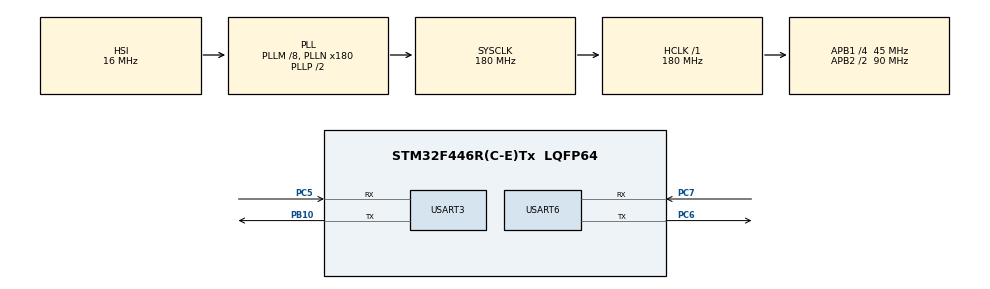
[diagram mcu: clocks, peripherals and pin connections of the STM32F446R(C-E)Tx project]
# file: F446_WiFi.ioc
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Mcu.Family=STM32F4
Mcu.Name=STM32F446R(C-E)Tx
Mcu.Package=LQFP64
NVIC.PriorityGroup=NVIC_PRIORITYGROUP_4
PA13.Mode=Serial_Wire
PA13.Signal=SYS_JTMS-SWDIO
PA14.Mode=Serial_Wire
PA14.Signal=SYS_JTCK-SWCLK
PA2.Signal=USART2_TX
PB10.Mode=Asynchronous
PB10.Signal=USART3_TX
PC5.Mode=Asynchronous
PC5.Signal=USART3_RX
PC6.Mode=Asynchronous
PC6.Signal=USART6_TX
PC7.Mode=Asynchronous
PC7.Signal=USART6_RX
PH0-OSC_IN.Mode=HSE-External-Oscillator
PH0-OSC_IN.Signal=RCC_OSC_IN
PH1-OSC_OUT.Mode=HSE-External-Oscillator
PH1-OSC_OUT.Signal=RCC_OSC_OUT
ProjectManager.HeapSize=0x200
ProjectManager.StackSize=0x400
ProjectManager.TargetToolchain=STM32CubeIDE
RCC.AHBFreq_Value=180000000
RCC.APB1CLKDivider=RCC_HCLK_DIV4
RCC.APB1Freq_Value=45000000
RCC.APB1TimFreq_Value=90000000
RCC.APB2CLKDivider=RCC_HCLK_DIV2
RCC.APB2Freq_Value=90000000
RCC.APB2TimFreq_Value=180000000
RCC.CortexFreq_Value=180000000
RCC.HCLKFreq_Value=180000000
RCC.HSE_VALUE=8000000
RCC.PLLM=8
RCC.PLLN=180
RCC.SYSCLKFreq_VALUE=180000000
RCC.SYSCLKSource=RCC_SYSCLKSOURCE_PLLCLK
RCC.USBFreq_Value=180000000
RCC.VCOOutputFreq_Value=360000000
USART3.VirtualMode=VM_ASYNC
USART6.VirtualMode=VM_ASYNC
board=custom

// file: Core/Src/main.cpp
/* USER CODE BEGIN Header */
/**
  ******************************************************************************
  * @file           : main.c
  * @brief          : Main program body
  ******************************************************************************
  * @attention
  *
  * <h2><center>&copy; Copyright (c) 2021 STMicroelectronics.
  * All rights reserved.</center></h2>
  *
  * This software component is licensed by ST under BSD 3-Clause license,
  * the "License"; You may not use this file except in compliance with the
  * License. You may obtain a copy of the License at:
  *                        opensource.org/licenses/BSD-3-Clause
  *
  ******************************************************************************
  */
/* USER CODE END Header */
#include "main.h"

/* USER CODE BEGIN Includes */
#include <ESP8266WiFi.h>
#include <stdio.h>
#include <string.h>
#include "stdarg.h"
#include "stdlib.h"
/* USER CODE END Includes */

UART_HandleTypeDef huart3;
UART_HandleTypeDef huart6;

void SystemClock_Config(void);
static void MX_GPIO_Init(void);
static void MX_USART3_UART_Init(void);
static void MX_USART6_UART_Init(void);

/* USER CODE BEGIN 0 */
// huart3 esp
// huart6 ttl
using namespace std;

ESP8266Class wifi(&huart3, &huart6);

const char mySSID[] = "SSID";
const char myPSK[] = "PASSWORD";

void UART_print(const char* fmt, ...) {
    char buff[256];
    va_list args;
    va_start(args, fmt);
    vsnprintf(buff, sizeof(buff), fmt, args);
    HAL_UART_Transmit(&huart6, (uint8_t*)buff, strlen(buff), HAL_MAX_DELAY);
    va_end(args);
}
/* USER CODE END 0 */

int main(void)
{

  /* MCU Configuration--------------------------------------------------------*/

  /* Reset of all peripherals, Initializes the Flash interface and the Systick. */
  HAL_Init();

  /* Configure the system clock */
  SystemClock_Config();

  /* Initialize all configured peripherals */
  MX_GPIO_Init();
  MX_USART3_UART_Init();
  MX_USART6_UART_Init();
  /* USER CODE BEGIN 2 */
  HAL_Delay(1000);

  if(wifi.begin())
  {
	  UART_print("WiFi ready\r\n");

	  wifi.setMode(ESP8266_MODE_STA);

	  int8_t mode = wifi.getMode();
	  if(mode == ESP8266_MODE_AP)
		  UART_print("AP Mode\r\n");
	  else if(mode == ESP8266_MODE_STA)
		  UART_print("Station Mode\r\n");
	  else if(mode == ESP8266_MODE_STAAP)
		  UART_print("Statin AP Mode\r\n");

	  UART_print("Connecting to %s\r\n", mySSID);
	  int8_t x = wifi.connect(mySSID, myPSK);
	  while (x < 0)
	  {
		  UART_print(".");
		  HAL_Delay(2000);
		  if(x == -3)
			  UART_print("\r\nConnection failed!\r\n");
		  x = wifi.connect(mySSID, myPSK);
	  }

	  UART_print("\r\nWifi Connected\r\n");

	  uint8_t status = wifi.status();
	  if(status == ESP8266_STATUS_GOTIP)
		  UART_print("WiFi connected and got IP\r\n");
	  else if(status == ESP8266_STATUS_DISCONNECTED)
		  UART_print("WiFi disconnected\r\n");
	  else if(status == ESP8266_STATUS_NOWIFI)
		  UART_print("WiFi not connected\r\n");

	  wifi.localIP();
	  wifi.localMAC();
  }
  else
	  UART_print("WiFi error!\r\n");

  /* USER CODE END 2 */

  /* Infinite loop */
  while (1)
  {

  }
}

void SystemClock_Config(void)
{
  RCC_OscInitTypeDef RCC_OscInitStruct = {0};
  RCC_ClkInitTypeDef RCC_ClkInitStruct = {0};

  /** Configure the main internal regulator output voltage
  */
  __HAL_RCC_PWR_CLK_ENABLE();
  __HAL_PWR_VOLTAGESCALING_CONFIG(PWR_REGULATOR_VOLTAGE_SCALE1);
  /** Initializes the RCC Oscillators according to the specified parameters
  * in the RCC_OscInitTypeDef structure.
  */
  RCC_OscInitStruct.OscillatorType = RCC_OSCILLATORTYPE_HSI;
  RCC_OscInitStruct.HSIState = RCC_HSI_ON;
  RCC_OscInitStruct.HSICalibrationValue = RCC_HSICALIBRATION_DEFAULT;
  RCC_OscInitStruct.PLL.PLLState = RCC_PLL_ON;
  RCC_OscInitStruct.PLL.PLLSource = RCC_PLLSOURCE_HSI;
  RCC_OscInitStruct.PLL.PLLM = 8;
  RCC_OscInitStruct.PLL.PLLN = 180;
  RCC_OscInitStruct.PLL.PLLP = RCC_PLLP_DIV2;
  RCC_OscInitStruct.PLL.PLLQ = 2;
  RCC_OscInitStruct.PLL.PLLR = 2;
  if (HAL_RCC_OscConfig(&RCC_OscInitStruct) != HAL_OK)
  {
    Error_Handler();
  }
  /** Activate the Over-Drive mode
  */
  if (HAL_PWREx_EnableOverDrive() != HAL_OK)
  {
    Error_Handler();
  }
  /** Initializes the CPU, AHB and APB buses clocks
  */
  RCC_ClkInitStruct.ClockType = RCC_CLOCKTYPE_HCLK|RCC_CLOCKTYPE_SYSCLK
                              |RCC_CLOCKTYPE_PCLK1|RCC_CLOCKTYPE_PCLK2;
  RCC_ClkInitStruct.SYSCLKSource = RCC_SYSCLKSOURCE_PLLCLK;
  RCC_ClkInitStruct.AHBCLKDivider = RCC_SYSCLK_DIV1;
  RCC_ClkInitStruct.APB1CLKDivider = RCC_HCLK_DIV4;
  RCC_ClkInitStruct.APB2CLKDivider = RCC_HCLK_DIV2;

  if (HAL_RCC_ClockConfig(&RCC_ClkInitStruct, FLASH_LATENCY_5) != HAL_OK)
  {
    Error_Handler();
  }
}

static void MX_USART3_UART_Init(void)
{

  huart3.Instance = USART3;
  huart3.Init.BaudRate = 115200;
  huart3.Init.WordLength = UART_WORDLENGTH_8B;
  huart3.Init.StopBits = UART_STOPBITS_1;
  huart3.Init.Parity = UART_PARITY_NONE;
  huart3.Init.Mode = UART_MODE_TX_RX;
  huart3.Init.HwFlowCtl = UART_HWCONTROL_NONE;
  huart3.Init.OverSampling = UART_OVERSAMPLING_16;
  if (HAL_UART_Init(&huart3) != HAL_OK)
  {
    Error_Handler();
  }

}

static void MX_USART6_UART_Init(void)
{

  huart6.Instance = USART6;
  huart6.Init.BaudRate = 115200;
  huart6.Init.WordLength = UART_WORDLENGTH_8B;
  huart6.Init.StopBits = UART_STOPBITS_1;
  huart6.Init.Parity = UART_PARITY_NONE;
  huart6.Init.Mode = UART_MODE_TX_RX;
  huart6.Init.HwFlowCtl = UART_HWCONTROL_NONE;
  huart6.Init.OverSampling = UART_OVERSAMPLING_16;
  if (HAL_UART_Init(&huart6) != HAL_OK)
  {
    Error_Handler();
  }

}

static void MX_GPIO_Init(void)
{
  GPIO_InitTypeDef GPIO_InitStruct = {0};

  /* GPIO Ports Clock Enable */
  __HAL_RCC_GPIOH_CLK_ENABLE();
  __HAL_RCC_GPIOA_CLK_ENABLE();
  __HAL_RCC_GPIOC_CLK_ENABLE();
  __HAL_RCC_GPIOB_CLK_ENABLE();

  /*Configure GPIO pin : PA2 */
  GPIO_InitStruct.Pin = GPIO_PIN_2;
  GPIO_InitStruct.Mode = GPIO_MODE_AF_PP;
  GPIO_InitStruct.Pull = GPIO_NOPULL;
  GPIO_InitStruct.Speed = GPIO_SPEED_FREQ_VERY_HIGH;
  GPIO_InitStruct.Alternate = GPIO_AF7_USART2;
  HAL_GPIO_Init(GPIOA, &GPIO_InitStruct);

}

void Error_Handler(void)
{
  __disable_irq();
  while (1)
  {
  }
}

/************************ (C) COPYRIGHT STMicroelectronics *****END OF FILE****/
